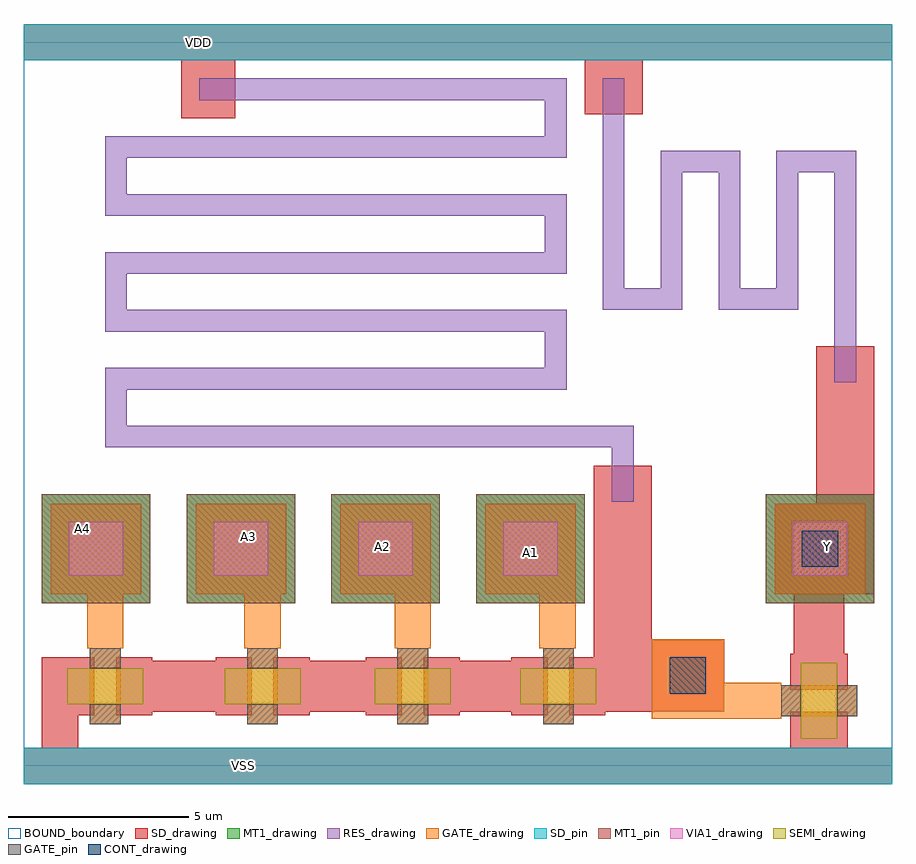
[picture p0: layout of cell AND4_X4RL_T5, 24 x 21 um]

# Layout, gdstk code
from math import pi, radians
import gdstk
lib = gdstk.Library(unit=1e-6, precision=1e-09)
def R(c, l, rs):  # rectangles x0, y0, x1, y1
    for r in rs: c.add(gdstk.rectangle(r[:2], r[2:], *l))
def A(c, l, x, y, w, h, nx, ny, dx, dy):  # array of equal rectangles
    R(c, l, [(x+i*dx, y+j*dy, x+i*dx+w, y+j*dy+h) for i in range(nx) for j in range(ny)])
def P(c, l, *ps):  # polygons
    for p in ps: c.add(gdstk.Polygon(p, *l))
RES_drawing = (1, 0)
SEMI_drawing = (3, 0)
SD_drawing = (10, 0)
SD_pin = (10, 3)
GATE_drawing = (11, 0)
GATE_pin = (11, 3)
MT1_drawing = (20, 0)
MT1_pin = (20, 3)
CONT_drawing = (30, 0)
VIA1_drawing = (41, 0)
BOUND_boundary = (150, 5)

res_cdns_772545014330 = lib.new_cell('res_CDNS_772545014330')
A(res_cdns_772545014330, RES_drawing, -3.5, -2.2, 0.6, 4.4, 5, 1, 1.6, 0)
R(res_cdns_772545014330, RES_drawing, [(2.9,-4.2,3.5,-2.2), (-2.9,-2.2,-1.9,-1.6), (0.3,-2.2,1.3,-1.6), (-1.3,1.6,-0.3,2.2), (1.9,1.6,2.9,2.2), (-3.5,2.2,-2.9,4.2)])
R(res_cdns_772545014330, SD_drawing, [(2.4,-4.7,4,-3.2), (-4,3.2,-2.4,4.7)])

nch_cdns_772545014331 = lib.new_cell('nch_CDNS_772545014331')
R(nch_cdns_772545014331, SEMI_drawing, [(-1.05,-0.5,1.05,0.5)])
R(nch_cdns_772545014331, SD_drawing, [(-1.3,-0.8,-0.3,0.8), (0.3,-0.8,1.3,0.8)])
R(nch_cdns_772545014331, GATE_drawing, [(-0.425,-1.05,0.425,1.05)])
R(nch_cdns_772545014331, GATE_pin, [(-0.425,-1.05,0.425,-0.5), (-0.425,0.5,0.425,1.05)])

gate_mt1_cdns_7725450143 = lib.new_cell('GATE_MT1_CDNS_772545014330')
R(gate_mt1_cdns_7725450143, GATE_drawing, [(-1.25,-1.25,1.25,1.25)])
R(gate_mt1_cdns_7725450143, MT1_drawing, [(-1.25,-1.25,1.25,1.25)])
R(gate_mt1_cdns_7725450143, VIA1_drawing, [(-0.75,-0.75,0.75,0.75)])

sd_gate_cdns_77254501433 = lib.new_cell('SD_GATE_CDNS_772545014331')
R(sd_gate_cdns_77254501433, SD_drawing, [(-1,-1,1,1)])
R(sd_gate_cdns_77254501433, GATE_drawing, [(-1,-1,1,1)])
R(sd_gate_cdns_77254501433, CONT_drawing, [(-0.5,-0.5,0.5,0.5)])

c_sd_gate_cdns_77254501433 = lib.new_cell('SD_GATE_CDNS_772545014332')
R(c_sd_gate_cdns_77254501433, SD_drawing, [(-1.25,-1.25,1.25,1.25)])
R(c_sd_gate_cdns_77254501433, GATE_drawing, [(-1.25,-1.25,1.25,1.25)])
R(c_sd_gate_cdns_77254501433, CONT_drawing, [(-0.5,-0.5,0.5,0.5)])

and4_x4rl_t5 = lib.new_cell('AND4_X4RL_T5')
R(and4_x4rl_t5, SD_drawing, [(0,-0.5,24,0.5), (0.5,0.5,1.5,3), (21.9,4.75,23.5,11.6), (15.75,6.8,17.35,8.3), (4.35,17.9,5.85,19.5), (15.5,18,17.1,19.5), (0,19.5,24,20.5)])
R(and4_x4rl_t5, SD_pin, [(0,-0.5,24,0.5), (0,19.5,24,20.5)])
P(and4_x4rl_t5, GATE_drawing, [(2.75,3.35),(1.75,3.35),(1.75,3.25),(1.875,3.25),(1.875,3.2),(2.625,3.2),(2.625,3.25),(2.75,3.25)],
  [(7.1,3.35),(6.1,3.35),(6.1,3.25),(6.225,3.25),(6.225,3.2),(6.975,3.2),(6.975,3.25),(7.1,3.25)],
  [(11.25,3.35),(10.25,3.35),(10.25,3.25),(10.375,3.25),(10.375,3.2),(11.125,3.2),(11.125,3.25),(11.25,3.25)],
  [(15.25,3.35),(14.25,3.35),(14.25,3.25),(14.4,3.25),(14.4,3.2),(15.15,3.2),(15.15,3.25),(15.25,3.25)],
  [(20.825,1.3),(20.825,2.3),(20.925,2.3),(20.925,2.175),(20.975,2.175),(20.975,1.425),(20.925,1.425),(20.925,1.3)])
A(and4_x4rl_t5, MT1_drawing, 0.5, 4.5, 3, 3, 4, 1, 4, 0)
R(and4_x4rl_t5, MT1_drawing, [(20.5,4.5,23.5,7.5)])
A(and4_x4rl_t5, MT1_pin, 0.5, 4.5, 3, 3, 4, 1, 4, 0)
R(and4_x4rl_t5, MT1_pin, [(20.5,4.5,23.5,7.5)])
R(and4_x4rl_t5, BOUND_boundary, [(0,0,24,20)])
and4_x4rl_t5.add(gdstk.FlexPath([(20.825,1.8),(17.35,1.8)], 1, ends="flush", simple_path=True, layer=11, datatype=0))  # GATE_drawing
and4_x4rl_t5.add(gdstk.FlexPath([(2.25,3.35),(2.25,5.825)], 1, ends="flush", simple_path=True, layer=11, datatype=0))  # GATE_drawing
and4_x4rl_t5.add(gdstk.FlexPath([(6.6,3.35),(6.6,5.15)], 1, ends="flush", simple_path=True, layer=11, datatype=0))  # GATE_drawing
and4_x4rl_t5.add(gdstk.FlexPath([(14.75,3.35),(14.75,5.35)], 1, ends="flush", simple_path=True, layer=11, datatype=0))  # GATE_drawing
and4_x4rl_t5.add(gdstk.FlexPath([(10.75,3.35),(10.75,5.325)], 1, ends="flush", simple_path=True, layer=11, datatype=0))  # GATE_drawing
and4_x4rl_t5.add(gdstk.FlexPath([(16.55,6.8),(16.55,2.2)], 1.6, ends=(0, 0.7), simple_path=True, layer=10, datatype=0))  # SD_drawing
and4_x4rl_t5.add(gdstk.FlexPath([(16.55,2.2),(19.15,2.2)], 1.4, ends=(0.8, 0), simple_path=True, layer=10, datatype=0))  # SD_drawing
and4_x4rl_t5.add(gdstk.FlexPath([(21.975,3.1),(21.975,7.25)], 1.4, ends="flush", simple_path=True, layer=10, datatype=0))  # SD_drawing
and4_x4rl_t5.add(gdstk.FlexPath([(3.55,2.2),(5.3,2.2)], 1.4, ends="flush", simple_path=True, layer=10, datatype=0))  # SD_drawing
and4_x4rl_t5.add(gdstk.FlexPath([(12.05,2.2),(13.475,2.2)], 1.4, ends="flush", simple_path=True, layer=10, datatype=0))  # SD_drawing
and4_x4rl_t5.add(gdstk.FlexPath([(7.9,2.2),(9.45,2.2)], 1.4, ends="flush", simple_path=True, layer=10, datatype=0))  # SD_drawing
and4_x4rl_t5.add(gdstk.FlexPath([(5.85,18.7),(14.7,18.7),(14.7,17.1),(2.55,17.1),(2.55,15.5),(14.7,15.5),(14.7,13.9),(2.55,13.9),(2.55,12.3),(14.7,12.3),(14.7,10.7),(2.55,10.7),(2.55,9.1),(16.55,9.1),(16.55,8.3)], 0.6, ends=(1, 1), simple_path=True, layer=1, datatype=0))  # RES_drawing
and4_x4rl_t5.add(gdstk.Reference(res_cdns_772545014330, (19.5,14.8)))
and4_x4rl_t5.add(gdstk.Reference(nch_cdns_772545014331, (2.25,2.2)))
and4_x4rl_t5.add(gdstk.Reference(nch_cdns_772545014331, (21.975,1.8), rotation=pi/2))
and4_x4rl_t5.add(gdstk.Reference(nch_cdns_772545014331, (6.6,2.2)))
and4_x4rl_t5.add(gdstk.Reference(nch_cdns_772545014331, (14.775,2.2)))
and4_x4rl_t5.add(gdstk.Reference(nch_cdns_772545014331, (10.75,2.2)))
and4_x4rl_t5.add(gdstk.Reference(gate_mt1_cdns_7725450143, (2,6)))
and4_x4rl_t5.add(gdstk.Reference(gate_mt1_cdns_7725450143, (6,6)))
and4_x4rl_t5.add(gdstk.Reference(gate_mt1_cdns_7725450143, (22,6)))
and4_x4rl_t5.add(gdstk.Reference(gate_mt1_cdns_7725450143, (14,6)))
and4_x4rl_t5.add(gdstk.Reference(gate_mt1_cdns_7725450143, (10,6)))
and4_x4rl_t5.add(gdstk.Reference(sd_gate_cdns_77254501433, (18.35,2.5)))
and4_x4rl_t5.add(gdstk.Reference(c_sd_gate_cdns_77254501433, (22,6)))
and4_x4rl_t5.add(gdstk.Label('VDD', (4.825,20), layer=10, texttype=3))
and4_x4rl_t5.add(gdstk.Label('VSS', (6.075,0), layer=10, texttype=3))
and4_x4rl_t5.add(gdstk.Label('A3', (6.2,6.35), layer=20, texttype=3))
and4_x4rl_t5.add(gdstk.Label('Y', (22.2,6.05), layer=20, texttype=3))
and4_x4rl_t5.add(gdstk.Label('A2', (9.9,6.05), layer=20, texttype=3))
and4_x4rl_t5.add(gdstk.Label('A1', (14,5.9), layer=20, texttype=3))
and4_x4rl_t5.add(gdstk.Label('A4', (1.625,6.55), layer=20, texttype=3))

lib.write_gds('AND4_X4RL_T5.gds')
